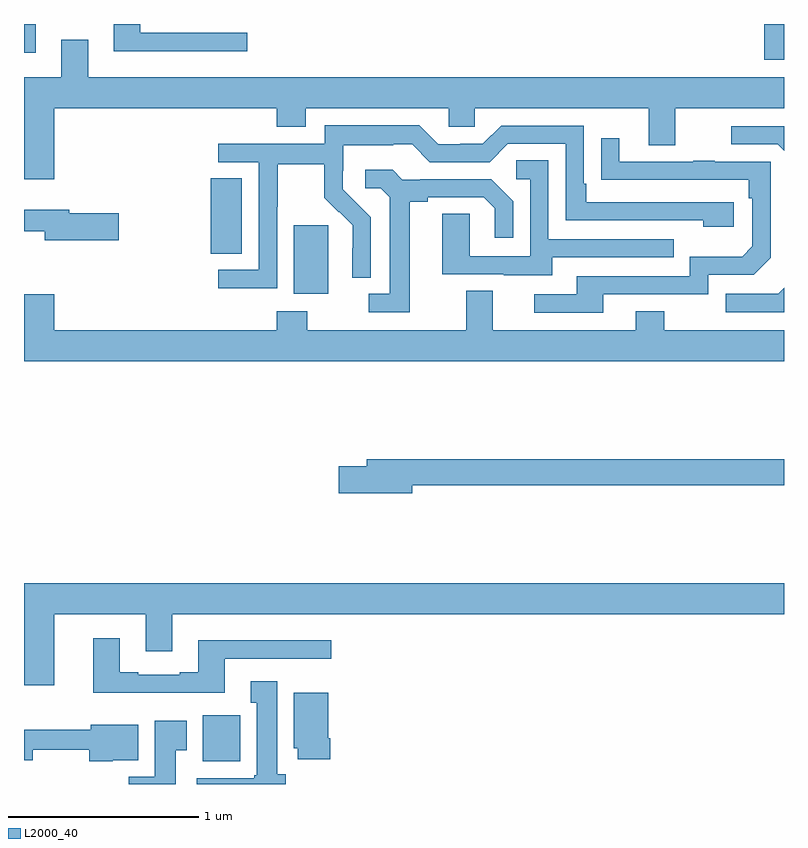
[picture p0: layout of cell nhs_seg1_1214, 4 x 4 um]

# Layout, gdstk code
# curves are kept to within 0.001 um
import gdstk
lib = gdstk.Library(unit=1e-6, precision=1e-09)
def R(c, l, rs):  # rectangles x0, y0, x1, y1
    for r in rs: c.add(gdstk.rectangle(r[:2], r[2:], *l))
def P(c, l, *ps):  # polygons
    for p in ps: c.add(gdstk.Polygon(p, *l))
L2000_40 = (2000, 40)

nhs_seg1_1214 = lib.new_cell('nhs_seg1_1214')
R(nhs_seg1_1214, L2000_40, [(177.941,524.318,178.138,524.56), (178.421,526.778,178.6,527.139), (177.982,526.99,178.147,527.387), (180.896,528.011,181,528.199), (177,528.048,177.061,528.199)])
P(nhs_seg1_1214, L2000_40, [(178.174,528.153),(177.613,528.153),(177.613,528.199),(177.473,528.199),(177.473,528.056),(178.174,528.056)],
  [(177.16,527.756),(178.331,527.756),(178.331,527.657),(178.483,527.657),(178.483,527.756),(179.235,527.756),(179.235,527.658),(179.373,527.658),(179.373,527.756),(180.287,527.756),(180.287,527.562),(180.427,527.562),(180.427,527.756),(181,527.756),(181,527.92),(177.337,527.92),(177.337,528.115),(177.197,528.115),(177.197,527.92),(177,527.92),(177,527.382),(177.16,527.382)],
  [(178.332,527.236),(178.335,527.236),(178.335,527.46),(178.579,527.46),(178.579,527.285),(178.656,527.208),(178.659,527.211),(178.73,527.141),(178.73,527.018),(178.728,527.018),(178.728,526.864),(178.824,526.864),(178.824,527.182),(178.678,527.33),(178.678,527.427),(178.68,527.427),(178.68,527.561),(178.943,527.561),(178.943,527.565),(179.043,527.565),(179.136,527.472),(179.451,527.472),(179.547,527.568),(179.85,527.568),(179.85,527.166),(180.575,527.166),(180.575,527.132),(180.736,527.132),(180.736,527.262),(179.959,527.262),(179.959,527.359),(179.946,527.359),(179.946,527.664),(179.511,527.664),(179.415,527.568),(179.297,527.568),(179.297,527.565),(179.181,527.565),(179.081,527.665),(178.584,527.665),(178.584,527.568),(178.023,527.568),(178.023,527.472),(178.236,527.472),(178.236,526.905),(178.023,526.905),(178.023,526.807),(178.332,526.807)],
  [(181,527.661),(180.723,527.661),(180.723,527.565),(180.966,527.565),(181,527.531)],
  [(180.049,526.776),(180.6,526.776),(180.6,526.878),(180.84,526.878),(180.93,526.968),(180.93,527.475),(180.635,527.475),(180.635,527.48),(180.523,527.48),(180.523,527.475),(180.133,527.475),(180.133,527.599),(180.037,527.599),(180.037,527.38),(180.814,527.379),(180.814,527.282),(180.834,527.282),(180.834,527.028),(180.781,526.975),(180.504,526.975),(180.504,526.872),(179.909,526.872),(179.909,526.776),(179.685,526.776),(179.685,526.68),(180.049,526.68)],
  [(179.779,526.971),(180.419,526.971),(180.419,527.067),(179.76,527.067),(179.76,527.483),(179.592,527.483),(179.592,527.382),(179.664,527.382),(179.664,526.977),(179.346,526.977),(179.346,527.201),(179.201,527.201),(179.201,526.881),(179.525,526.881),(179.525,526.877),(179.779,526.877)],
  [(179.029,527.264),(179.125,527.264),(179.125,527.286),(179.42,527.286),(179.477,527.229),(179.477,527.073),(179.574,527.073),(179.574,527.266),(179.458,527.382),(179.086,527.382),(179.086,527.379),(178.992,527.379),(178.94,527.431),(178.797,527.431),(178.797,527.334),(178.878,527.334),(178.925,527.287),(178.925,526.779),(178.815,526.779),(178.815,526.683),(179.029,526.683)],
  [(177.499,527.204),(177.238,527.204),(177.238,527.221),(177,527.221),(177,527.108),(177.11,527.108),(177.11,527.062),(177.499,527.062)],
  [(181,526.81),(180.969,526.779),(180.693,526.779),(180.693,526.683),(181,526.683)],
  [(181,526.588),(180.369,526.588),(180.369,526.687),(180.221,526.687),(180.221,526.588),(179.467,526.588),(179.467,526.796),(179.327,526.796),(179.327,526.588),(178.491,526.588),(178.491,526.687),(178.331,526.687),(178.331,526.588),(177.16,526.588),(177.16,526.777),(177,526.777),(177,526.424),(181,526.424)],
  [(179.044,525.772),(181,525.772),(181,525.908),(178.805,525.908),(178.805,525.872),(178.656,525.872),(178.656,525.73),(179.044,525.73)],
  [(177.16,525.092),(177.641,525.092),(177.641,524.898),(177.781,524.898),(177.781,525.092),(181,525.092),(181,525.256),(177,525.256),(177,524.718),(177.16,524.718)],
  [(178.057,524.859),(178.618,524.859),(178.618,524.956),(177.917,524.956),(177.917,524.788),(177.821,524.788),(177.821,524.775),(177.601,524.775),(177.601,524.788),(177.505,524.788),(177.505,524.965),(177.365,524.965),(177.365,524.678),(178.057,524.678)],
  [(178.378,524.25),(178.333,524.25),(178.333,524.74),(178.193,524.74),(178.193,524.627),(178.226,524.627),(178.226,524.244),(178.213,524.244),(178.213,524.23),(177.909,524.23),(177.909,524.199),(178.378,524.199)],
  [(178.613,524.44),(178.6,524.44),(178.6,524.68),(178.421,524.68),(178.421,524.388),(178.442,524.388),(178.442,524.328),(178.613,524.328)],
  [(177.799,524.377),(177.856,524.377),(177.856,524.533),(177.689,524.533),(177.689,524.236),(177.55,524.236),(177.55,524.199),(177.799,524.199)],
  [(177.468,524.324),(177.601,524.324),(177.601,524.512),(177.35,524.512),(177.35,524.484),(177,524.484),(177,524.323),(177.046,524.323),(177.046,524.38),(177.343,524.38),(177.343,524.318),(177.468,524.318)])

lib.write_gds('nhs_seg1_1214.gds')
